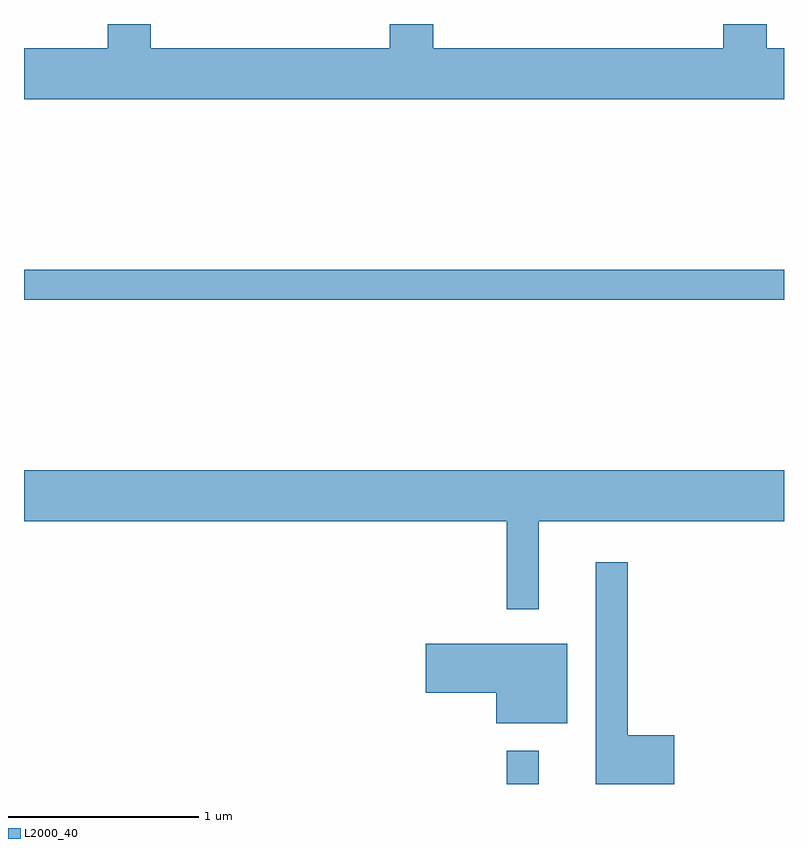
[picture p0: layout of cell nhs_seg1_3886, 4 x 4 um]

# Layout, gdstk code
import gdstk
lib = gdstk.Library(unit=1e-6, precision=1e-09)
def R(c, l, rs):  # rectangles x0, y0, x1, y1
    for r in rs: c.add(gdstk.rectangle(r[:2], r[2:], *l))
def P(c, l, *ps):  # polygons
    for p in ps: c.add(gdstk.Polygon(p, *l))
L2000_40 = (2000, 40)

nhs_seg1_3886 = lib.new_cell('nhs_seg1_3886')
R(nhs_seg1_3886, L2000_40, [(304.151,933.712,304.319,933.888), (301.611,936.261,305.611,936.419)])
P(nhs_seg1_3886, L2000_40, [(305.611,937.584),(305.519,937.584),(305.519,937.712),(305.291,937.712),(305.291,937.584),(303.764,937.584),(303.764,937.712),(303.536,937.712),(303.536,937.584),(302.279,937.584),(302.279,937.712),(302.051,937.712),(302.051,937.584),(301.611,937.584),(301.611,937.316),(305.611,937.316)],
  [(304.319,935.096),(305.611,935.096),(305.611,935.364),(301.611,935.364),(301.611,935.096),(304.151,935.096),(304.151,934.633),(304.319,934.633)],
  [(305.034,933.969),(304.789,933.969),(304.789,934.878),(304.621,934.878),(304.621,933.712),(305.034,933.712)],
  [(304.469,934.449),(303.726,934.449),(303.726,934.191),(304.096,934.191),(304.096,934.031),(304.469,934.031)])

lib.write_gds('nhs_seg1_3886.gds')
